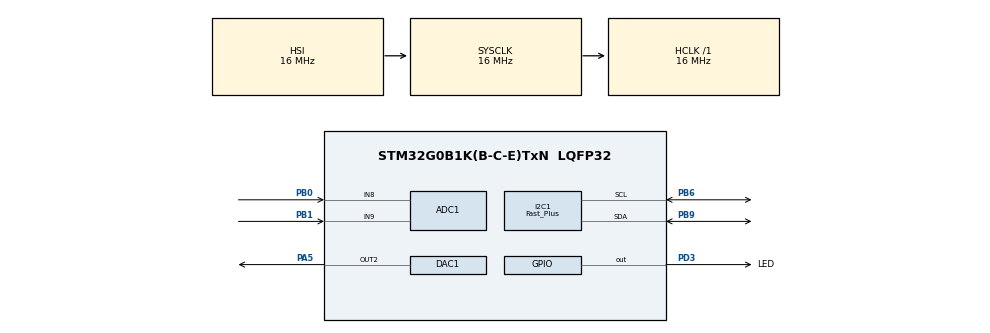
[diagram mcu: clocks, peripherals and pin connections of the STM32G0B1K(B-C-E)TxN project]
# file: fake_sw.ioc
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ADC1.Channel-1\#ChannelRegularConversion=ADC_CHANNEL_8
ADC1.Channel-3\#ChannelRegularConversion=ADC_CHANNEL_9
ADC1.Channel-4\#ChannelRegularConversion=ADC_CHANNEL_TEMPSENSOR
ADC1.ClockPrescaler=ADC_CLOCK_ASYNC_DIV8
ADC1.ContinuousConvMode=DISABLE
ADC1.NbrOfConversion=3
ADC1.NbrOfConversionFlag=1
ADC1.Rank-1\#ChannelRegularConversion=1
ADC1.Rank-3\#ChannelRegularConversion=2
ADC1.Rank-4\#ChannelRegularConversion=3
ADC1.SamplingTime-1\#ChannelRegularConversion=ADC_SAMPLINGTIME_COMMON_1
ADC1.SamplingTime-3\#ChannelRegularConversion=ADC_SAMPLINGTIME_COMMON_1
ADC1.SamplingTime-4\#ChannelRegularConversion=ADC_SAMPLINGTIME_COMMON_1
ADC1.SamplingTimeCommon1=ADC_SAMPLETIME_12CYCLES_5
ADC1.SelectedChannel=ADC_CHANNEL_TEMPSENSOR|ADC_CHANNEL_8|ADC_CHANNEL_9
ADC1.Sequencer=FULLY_CONFIGURABLE
ADC1.master=1
DAC1.DAC_Channel-DAC_OUT2=DAC_CHANNEL_2
DAC1.DAC_Trigger-DAC_OUT2=DAC_TRIGGER_T6_TRGO
Dma.DAC1_CH2.0.Direction=DMA_MEMORY_TO_PERIPH
Dma.DAC1_CH2.0.EventEnable=DISABLE
Dma.DAC1_CH2.0.Instance=DMA1_Channel1
Dma.DAC1_CH2.0.MemDataAlignment=DMA_MDATAALIGN_BYTE
Dma.DAC1_CH2.0.MemInc=DMA_MINC_ENABLE
Dma.DAC1_CH2.0.Mode=DMA_CIRCULAR
Dma.DAC1_CH2.0.PeriphDataAlignment=DMA_PDATAALIGN_BYTE
Dma.DAC1_CH2.0.PeriphInc=DMA_PINC_DISABLE
Dma.DAC1_CH2.0.Polarity=HAL_DMAMUX_REQ_GEN_RISING
Dma.DAC1_CH2.0.Priority=DMA_PRIORITY_LOW
Dma.DAC1_CH2.0.RequestNumber=1
Dma.DAC1_CH2.0.SignalID=NONE
Dma.DAC1_CH2.0.SyncEnable=DISABLE
Dma.DAC1_CH2.0.SyncPolarity=HAL_DMAMUX_SYNC_NO_EVENT
Dma.DAC1_CH2.0.SyncRequestNumber=1
Dma.DAC1_CH2.0.SyncSignalID=NONE
Dma.Request0=DAC1_CH2
I2C1.CustomTiming=Disabled
I2C1.I2C_Speed_Mode=I2C_Fast_Plus
I2C1.Timing=0x00000107
Mcu.Family=STM32G0
Mcu.Name=STM32G0B1K(B-C-E)TxN
Mcu.Package=LQFP32
NVIC.DMA1_Channel1_IRQn=true\:0\:0\:false\:false\:true\:false\:true\:true
PA5.Signal=COMP_DAC12_group
PB0.Mode=IN8
PB0.Signal=ADC1_IN8
PB1.Mode=IN9
PB1.Signal=ADC1_IN9
PB6.Mode=I2C
PB6.Signal=I2C1_SCL
PB9.Mode=I2C
PB9.Signal=I2C1_SDA
PD3.GPIO_Label=LED
PD3.Signal=GPIO_Output
ProjectManager.HeapSize=0x200
ProjectManager.StackSize=0x400
ProjectManager.TargetToolchain=STM32CubeIDE
RCC.AHBFreq_Value=16000000
RCC.CortexFreq_Value=16000000
RCC.EXTERNAL_CLOCK_VALUE=48000
RCC.HCLKFreq_Value=16000000
RCC.HSE_VALUE=8000000
RCC.HSI48_VALUE=48000000
RCC.HSI_VALUE=16000000
RCC.LSE_VALUE=32768
RCC.SYSCLKFreq_VALUE=16000000
RCC.USBFreq_Value=48000000
RCC.VCOOutputFreq_Value=128000000
SH.COMP_DAC12_group.0=DAC1_OUT2,DAC_OUT2
TIM6.AutoReloadPreload=TIM_AUTORELOAD_PRELOAD_DISABLE
TIM6.Period=1000
TIM6.Prescaler=0
TIM6.TIM_MasterOutputTrigger=TIM_TRGO_UPDATE
VP_ADC1_TempSens_Input.Mode=IN-TempSens
VP_SYS_VS_DBSignals.Mode=DisableDeadBatterySignals
VP_TIM6_VS_ClockSourceINT.Mode=Enable_Timer
board=custom

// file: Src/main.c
/* USER CODE BEGIN Header */
/**
  ******************************************************************************
  * @file           : main.c
  * @brief          : Main program body
  ******************************************************************************
  * @attention
  *
  * Copyright (c) 2024 STMicroelectronics.
  * All rights reserved.
  *
  * This software is licensed under terms that can be found in the LICENSE file
  * in the root directory of this software component.
  * If no LICENSE file comes with this software, it is provided AS-IS.
  *
  ******************************************************************************
  */
/* USER CODE END Header */
#include "main.h"

/* USER CODE BEGIN Includes */
#include "ssd1306.h"
#include <string.h>
#include <stdio.h>
#include "sounds.h"
/* USER CODE END Includes */

/* USER CODE BEGIN PD */
const uint8_t aEscalator8bit[6] = {0x0, 0x33, 0x66, 0x99, 0xCC, 0xFF};
/* USER CODE END PD */

ADC_HandleTypeDef hadc1;

DAC_HandleTypeDef hdac1;
DMA_HandleTypeDef hdma_dac1_ch2;

I2C_HandleTypeDef hi2c1;

TIM_HandleTypeDef htim6;

/* USER CODE BEGIN PV */
char outcomes[16][40] = {
		"Outlook's not so good",
    "Outlook's not great",
		"You're pretty much screwed",
		"Nope",
		"Sorry.",
		"I mean who knows?",
		"Why would I know that?",
		"This is proven to be undecidable.",
		"Left as exercise to the reader",
		"This is so doable",
		"You got it mate",
		"110%",
		"Good  enough for Australia",
    "Easy peasy line's busy, call later",
    "You're a genius",
    "I can legally guarantee success"
};

int out_length = 16;
/* USER CODE END PV */

void SystemClock_Config(void);
static void MX_GPIO_Init(void);
static void MX_DMA_Init(void);
static void MX_ADC1_Init(void);
static void MX_I2C1_Init(void);
static void MX_TIM6_Init(void);
static void MX_DAC1_Init(void);
/* USER CODE BEGIN PFP */
int is_screen_connected() {
    uint8_t byte = 0xE3; // NOP command
    HAL_StatusTypeDef status = HAL_I2C_Mem_Write(&SSD1306_I2C_PORT, SSD1306_I2C_ADDR, 0x00, 1, &byte, 1, 10);

    return status == HAL_OK;
}
/* USER CODE END PFP */

/* USER CODE BEGIN 0 */
int rng() {
	 HAL_ADC_Start(&hadc1);
	  while (HAL_ADC_PollForConversion(&hadc1, 10) != HAL_OK) {
		  // TODO: Make sure an interrupt exists
		  __WFI();
	  }

	  volatile int32_t raw = HAL_ADC_GetValue(&hadc1);
	  return raw;
}
/* USER CODE END 0 */

int main(void)
{

  /* MCU Configuration--------------------------------------------------------*/

  /* Reset of all peripherals, Initializes the Flash interface and the Systick. */
  HAL_Init();

  /* Configure the system clock */
  SystemClock_Config();

  /* Initialize all configured peripherals */
  MX_GPIO_Init();
  MX_DMA_Init();
  MX_ADC1_Init();
  MX_I2C1_Init();
  MX_TIM6_Init();
  MX_DAC1_Init();
  /* USER CODE BEGIN 2 */
  int32_t old_raw = 0;

  /* Run the ADC calibration */
    if (HAL_ADCEx_Calibration_Start(&hadc1) != HAL_OK)
    {
      /* Calibration Error */
//      Error_Handler();
    }
  /* USER CODE END 2 */

  /* Infinite loop */
  /* USER CODE BEGIN WHILE */
  while (1)
  {
	  HAL_GPIO_TogglePin(LED_GPIO_Port, LED_Pin);
	  HAL_Delay(10);
	  TIM2->CCR1 = 0;
	  HAL_GPIO_TogglePin(LED_GPIO_Port, LED_Pin);
	  HAL_Delay(10);
	  TIM2->CCR1 = 400;

      HAL_TIM_Base_Start(&htim6);

    // HAL_DAC_SetValue(&hdac1, DAC_CHANNEL_2, DAC_ALIGN_8B_R, 0x00);
    // HAL_DAC_Start(&hdac1, DAC_CHANNEL_2);
    // uint32_t i = 0;
    // while (1) {
    //   i = (i+2) % outlook_not_good_len;
    //   uint8_t value = outlook_not_good[i];

    //   i = (i + 127) % 256;
    //   value = i;

    //   HAL_DAC_SetValue(&hdac1, DAC_CHANNEL_2, DAC_ALIGN_8B_R, value);
    //   SET_BIT(hdac1.Instance->SWTRIGR, DAC_SWTRIGR_SWTRIG2);
    //   HAL_Delay(1);
    // }
    // HAL_DACEx_TriangleWaveGenerate(&hdac1, DAC_CHANNEL_2, DAC_TRIANGLEAMPLITUDE_1023);
    // HAL_DAC_Start(&hdac1, DAC_CHANNEL_2);
    // while (1) {
    //   HAL_DAC_SetValue(&hdac1, DAC_CHANNEL_2, DAC_ALIGN_12B_R, 4094);
    // }
    // HAL_DAC_SetValue(&hdac1, DAC_CHANNEL_2, DAC_ALIGN_12B_R, 0x100);
     HAL_DAC_Start_DMA(&hdac1, DAC_CHANNEL_2, (uint32_t *)outlook_not_good, outlook_not_good_len, DAC_ALIGN_8B_R);
//    HAL_DAC_Start_DMA(&hdac1, DAC_CHANNEL_2, (uint32_t *)aEscalator8bit, 6, DAC_ALIGN_8B_R);

	  if (is_screen_connected()) {
		  ssd1306_Init();
		  // ssd1306_Fill(Black);
		  // ssd1306_SetCursor(30, 46);
		  // ssd1306_WriteString("ERROR", Font_11x18, White);
		  // ssd1306_UpdateScreen();
    }

    uint32_t all_data = 0;
    for (int datum = 0; datum < 20; datum++) {
      int raw = rng();
      if (is_screen_connected()) {
          // Show data acquisition screen
          ssd1306_Fill(Black);
          ssd1306_SetCursor(0, 0);
          ssd1306_WriteString("Acquiring", Font_11x18, White);
          ssd1306_SetCursor(0, 20);
          ssd1306_WriteString("Data...", Font_11x18, White);

          char buffer[10];
          snprintf(buffer, 10, "%d", raw);
          ssd1306_SetCursor(20, 40);
          ssd1306_WriteString(buffer, Font_7x10, White);

          ssd1306_UpdateScreen();
      }
      all_data += raw;
      HAL_GPIO_TogglePin(LED_GPIO_Port, LED_Pin);
    }
    HAL_GPIO_WritePin(LED_GPIO_Port, LED_Pin, GPIO_PIN_RESET);

    srand(rng());

    // Init outcome
    int out_number = rand() % out_length;
    const char* my_outcome = outcomes[out_number];

    if (is_screen_connected()) {
      ssd1306_Fill(Black);

      // Display the out_number string by splitting it into max two lines
      const int max_length = 17;
      int border_size = 10;

      int length = strlen(my_outcome);
      char line1[max_length+1];
      char line2[max_length+1];
      if (length > max_length) {
        strncpy(line1, my_outcome, max_length);
        line1[max_length] = '\0';
        strncpy(line2, my_outcome+max_length, length-max_length);
        line2[length-max_length] = '\0';

        // Print text at center of screen
        int length1 = strlen(line1);
        int length2 = strlen(line2);
        ssd1306_SetCursor((128-length1*7)/2, 24);
        ssd1306_WriteString(line1, Font_7x10, White);
        ssd1306_SetCursor((128-length2*7)/2, 36);
        ssd1306_WriteString(line2, Font_7x10, White);

        border_size = 15;
      } else {
        strncpy(line1, my_outcome, length);
        line1[length] = '\0';
        line2[0] = '\0';

        // Print text at center of screen
        int length1 = strlen(line1);
        if (length1 < 7) {
          ssd1306_SetCursor((128-length1*11)/2, 25);
          ssd1306_WriteString(line1, Font_11x18, White);
          border_size = 35;
        } else {
          ssd1306_SetCursor((128-length1*7)/2, 27);
          ssd1306_WriteString(line1, Font_7x10, White);
          border_size = 25;
        }

      }

      for (int i = 0; i < SSD1306_WIDTH; i++) {
        for (int j = 0; j < SSD1306_HEIGHT; j++) {
          if (i + j < border_size) {
            ssd1306_DrawPixel(i, j, White);
          }
          if (i + j > SSD1306_HEIGHT + SSD1306_WIDTH - border_size) {
            ssd1306_DrawPixel(i, j, White);
          }
          if (j - i > SSD1306_HEIGHT - border_size) {
            ssd1306_DrawPixel(i, j, White);
          }
          if (i - j > SSD1306_WIDTH - border_size) {
            ssd1306_DrawPixel(i, j, White);
          }
        }
      }
	  }

    ssd1306_UpdateScreen();
    HAL_Delay(2000);

//	  if (fabs((float)raw - (float)old_raw) > 100) {
//		 int32_t diff = raw-old_raw;
//		 diff += 0;
//	  }
//	  int temp = __LL_ADC_CALC_TEMPERATURE(3300, raw, LL_ADC_RESOLUTION_12B);
//	  old_raw = raw;
    /* USER CODE END WHILE */

  }
}

void SystemClock_Config(void)
{
  RCC_OscInitTypeDef RCC_OscInitStruct = {0};
  RCC_ClkInitTypeDef RCC_ClkInitStruct = {0};

  /** Configure the main internal regulator output voltage
  */
  HAL_PWREx_ControlVoltageScaling(PWR_REGULATOR_VOLTAGE_SCALE1);

  /** Initializes the RCC Oscillators according to the specified parameters
  * in the RCC_OscInitTypeDef structure.
  */
  RCC_OscInitStruct.OscillatorType = RCC_OSCILLATORTYPE_HSI;
  RCC_OscInitStruct.HSIState = RCC_HSI_ON;
  RCC_OscInitStruct.HSIDiv = RCC_HSI_DIV1;
  RCC_OscInitStruct.HSICalibrationValue = RCC_HSICALIBRATION_DEFAULT;
  RCC_OscInitStruct.PLL.PLLState = RCC_PLL_NONE;
  if (HAL_RCC_OscConfig(&RCC_OscInitStruct) != HAL_OK)
  {
    Error_Handler();
  }

  /** Initializes the CPU, AHB and APB buses clocks
  */
  RCC_ClkInitStruct.ClockType = RCC_CLOCKTYPE_HCLK|RCC_CLOCKTYPE_SYSCLK
                              |RCC_CLOCKTYPE_PCLK1;
  RCC_ClkInitStruct.SYSCLKSource = RCC_SYSCLKSOURCE_HSI;
  RCC_ClkInitStruct.AHBCLKDivider = RCC_SYSCLK_DIV1;
  RCC_ClkInitStruct.APB1CLKDivider = RCC_HCLK_DIV1;

  if (HAL_RCC_ClockConfig(&RCC_ClkInitStruct, FLASH_LATENCY_0) != HAL_OK)
  {
    Error_Handler();
  }
}

static void MX_ADC1_Init(void)
{

  ADC_ChannelConfTypeDef sConfig = {0};

  /** Configure the global features of the ADC (Clock, Resolution, Data Alignment and number of conversion)
  */
  hadc1.Instance = ADC1;
  hadc1.Init.ClockPrescaler = ADC_CLOCK_ASYNC_DIV8;
  hadc1.Init.Resolution = ADC_RESOLUTION_12B;
  hadc1.Init.DataAlign = ADC_DATAALIGN_RIGHT;
  hadc1.Init.ScanConvMode = ADC_SCAN_ENABLE;
  hadc1.Init.EOCSelection = ADC_EOC_SINGLE_CONV;
  hadc1.Init.LowPowerAutoWait = DISABLE;
  hadc1.Init.LowPowerAutoPowerOff = DISABLE;
  hadc1.Init.ContinuousConvMode = DISABLE;
  hadc1.Init.NbrOfConversion = 3;
  hadc1.Init.DiscontinuousConvMode = DISABLE;
  hadc1.Init.ExternalTrigConv = ADC_SOFTWARE_START;
  hadc1.Init.ExternalTrigConvEdge = ADC_EXTERNALTRIGCONVEDGE_NONE;
  hadc1.Init.DMAContinuousRequests = DISABLE;
  hadc1.Init.Overrun = ADC_OVR_DATA_PRESERVED;
  hadc1.Init.SamplingTimeCommon1 = ADC_SAMPLETIME_12CYCLES_5;
  hadc1.Init.SamplingTimeCommon2 = ADC_SAMPLETIME_1CYCLE_5;
  hadc1.Init.OversamplingMode = DISABLE;
  hadc1.Init.TriggerFrequencyMode = ADC_TRIGGER_FREQ_HIGH;
  if (HAL_ADC_Init(&hadc1) != HAL_OK)
  {
    Error_Handler();
  }

  /** Configure Regular Channel
  */
  sConfig.Channel = ADC_CHANNEL_8;
  sConfig.Rank = ADC_REGULAR_RANK_1;
  sConfig.SamplingTime = ADC_SAMPLINGTIME_COMMON_1;
  if (HAL_ADC_ConfigChannel(&hadc1, &sConfig) != HAL_OK)
  {
    Error_Handler();
  }

  /** Configure Regular Channel
  */
  sConfig.Channel = ADC_CHANNEL_9;
  sConfig.Rank = ADC_REGULAR_RANK_2;
  if (HAL_ADC_ConfigChannel(&hadc1, &sConfig) != HAL_OK)
  {
    Error_Handler();
  }

  /** Configure Regular Channel
  */
  sConfig.Channel = ADC_CHANNEL_TEMPSENSOR;
  sConfig.Rank = ADC_REGULAR_RANK_3;
  if (HAL_ADC_ConfigChannel(&hadc1, &sConfig) != HAL_OK)
  {
    Error_Handler();
  }

}

static void MX_DAC1_Init(void)
{

  DAC_ChannelConfTypeDef sConfig = {0};

  /** DAC Initialization
  */
  hdac1.Instance = DAC1;
  if (HAL_DAC_Init(&hdac1) != HAL_OK)
  {
    Error_Handler();
  }

  /** DAC channel OUT2 config
  */
  sConfig.DAC_SampleAndHold = DAC_SAMPLEANDHOLD_DISABLE;
  sConfig.DAC_Trigger = DAC_TRIGGER_T6_TRGO;
  sConfig.DAC_OutputBuffer = DAC_OUTPUTBUFFER_ENABLE;
  sConfig.DAC_ConnectOnChipPeripheral = DAC_CHIPCONNECT_DISABLE;
  sConfig.DAC_UserTrimming = DAC_TRIMMING_FACTORY;
  if (HAL_DAC_ConfigChannel(&hdac1, &sConfig, DAC_CHANNEL_2) != HAL_OK)
  {
    Error_Handler();
  }

}

static void MX_I2C1_Init(void)
{

  hi2c1.Instance = I2C1;
  hi2c1.Init.Timing = 0x00000107;
  hi2c1.Init.OwnAddress1 = 0;
  hi2c1.Init.AddressingMode = I2C_ADDRESSINGMODE_7BIT;
  hi2c1.Init.DualAddressMode = I2C_DUALADDRESS_DISABLE;
  hi2c1.Init.OwnAddress2 = 0;
  hi2c1.Init.OwnAddress2Masks = I2C_OA2_NOMASK;
  hi2c1.Init.GeneralCallMode = I2C_GENERALCALL_DISABLE;
  hi2c1.Init.NoStretchMode = I2C_NOSTRETCH_DISABLE;
  if (HAL_I2C_Init(&hi2c1) != HAL_OK)
  {
    Error_Handler();
  }

  /** Configure Analogue filter
  */
  if (HAL_I2CEx_ConfigAnalogFilter(&hi2c1, I2C_ANALOGFILTER_ENABLE) != HAL_OK)
  {
    Error_Handler();
  }

  /** Configure Digital filter
  */
  if (HAL_I2CEx_ConfigDigitalFilter(&hi2c1, 0) != HAL_OK)
  {
    Error_Handler();
  }

  /** I2C Fast mode Plus enable
  */
  HAL_I2CEx_EnableFastModePlus(I2C_FASTMODEPLUS_I2C1);

}

static void MX_TIM6_Init(void)
{

  TIM_MasterConfigTypeDef sMasterConfig = {0};

  htim6.Instance = TIM6;
  htim6.Init.Prescaler = 0;
  htim6.Init.CounterMode = TIM_COUNTERMODE_UP;
  htim6.Init.Period = 1000;
  htim6.Init.AutoReloadPreload = TIM_AUTORELOAD_PRELOAD_DISABLE;
  if (HAL_TIM_Base_Init(&htim6) != HAL_OK)
  {
    Error_Handler();
  }
  sMasterConfig.MasterOutputTrigger = TIM_TRGO_UPDATE;
  sMasterConfig.MasterSlaveMode = TIM_MASTERSLAVEMODE_DISABLE;
  if (HAL_TIMEx_MasterConfigSynchronization(&htim6, &sMasterConfig) != HAL_OK)
  {
    Error_Handler();
  }

}

static void MX_DMA_Init(void)
{

  /* DMA controller clock enable */
  __HAL_RCC_DMA1_CLK_ENABLE();

  /* DMA interrupt init */
  /* DMA1_Channel1_IRQn interrupt configuration */
  HAL_NVIC_SetPriority(DMA1_Channel1_IRQn, 0, 0);
  HAL_NVIC_EnableIRQ(DMA1_Channel1_IRQn);

}

static void MX_GPIO_Init(void)
{
  GPIO_InitTypeDef GPIO_InitStruct = {0};

  /* GPIO Ports Clock Enable */
  __HAL_RCC_GPIOB_CLK_ENABLE();
  __HAL_RCC_GPIOA_CLK_ENABLE();
  __HAL_RCC_GPIOD_CLK_ENABLE();

  /*Configure GPIO pin Output Level */
  HAL_GPIO_WritePin(LED_GPIO_Port, LED_Pin, GPIO_PIN_RESET);

  /*Configure GPIO pin : LED_Pin */
  GPIO_InitStruct.Pin = LED_Pin;
  GPIO_InitStruct.Mode = GPIO_MODE_OUTPUT_PP;
  GPIO_InitStruct.Pull = GPIO_NOPULL;
  GPIO_InitStruct.Speed = GPIO_SPEED_FREQ_LOW;
  HAL_GPIO_Init(LED_GPIO_Port, &GPIO_InitStruct);

}

void Error_Handler(void)
{
  __disable_irq();
  while (1)
  {
  }
}
